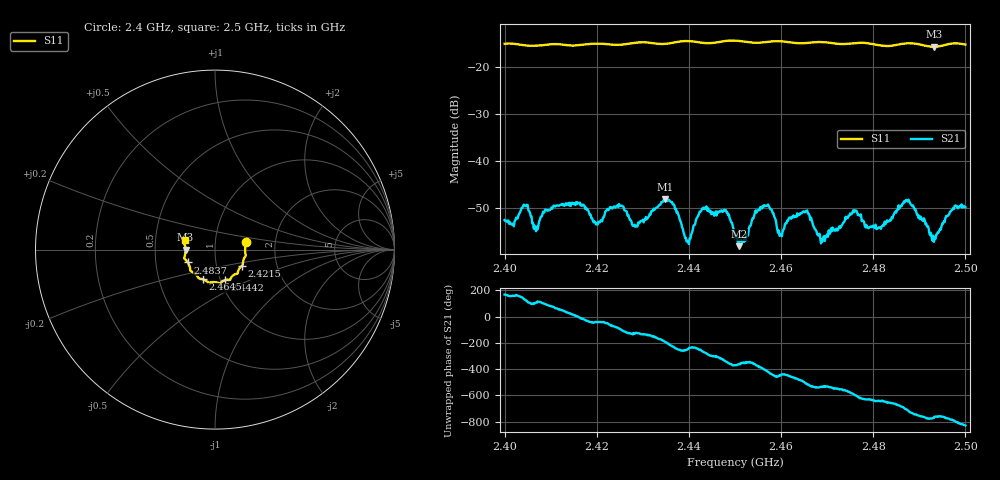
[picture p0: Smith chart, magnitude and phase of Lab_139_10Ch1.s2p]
# Hz S RI R 50
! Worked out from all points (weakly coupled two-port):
!   601 points, 2.4 GHz to 2.5 GHz, reference 50 ohm
!   highest |S21| = -48.15 dB at 2.4348 GHz (marker M1); lowest = -58.1 dB at 2.4508 GHz (marker M2)
!   lowest |S11| = -15.7 dB at 2.4932 GHz (marker M3), VSWR 1.39, Z = 35.9 - j0.044 ohm
!   |S11| at or under -10 dB: start of sweep to end of sweep
!   S12 and S22 are empty: the file has one direction only
!   S11 on the Smith chart (normalised r, x): 2.4 GHz: 1.41, +0.12; 2.4215 GHz: 1.33, -0.25; 2.4442 GHz: 1.05, -0.37; 2.4645 GHz: 0.83, -0.29; 2.4837 GHz: 0.73, -0.11; 2.5 GHz: 0.71, +0.07
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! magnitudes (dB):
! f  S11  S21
! 2.4 GHz  -15.1  -52.5
! 2.4167 GHz  -15.3  -49.3
! 2.4215 GHz  -15.1  -52.0
! 2.4253 GHz  -15.3  -49.5
! 2.4283 GHz  -14.9  -54.0
! 2.4333 GHz  -15.1  -49.7
! 2.4348 GHz  -15.1  -48.2
! 2.4397 GHz  -14.5  -57.0
! 2.4442 GHz  -15.0  -50.0
! 2.45 GHz  -14.4  -55.6
! 2.4508 GHz  -14.5  -58.1
! 2.456 GHz  -14.8  -49.5
! 2.4598 GHz  -14.6  -55.7
! 2.4645 GHz  -15.0  -51.1
! 2.4667 GHz  -14.8  -52.6
! 2.469 GHz  -14.7  -57.1
! 2.476 GHz  -15.0  -50.5
! 2.4833 GHz  -15.6  -52.8
! 2.4837 GHz  -15.5  -52.4
! 2.4875 GHz  -15.0  -48.6
! 2.4932 GHz  -15.7  -57.1
! 2.5 GHz  -15.2  -49.8
